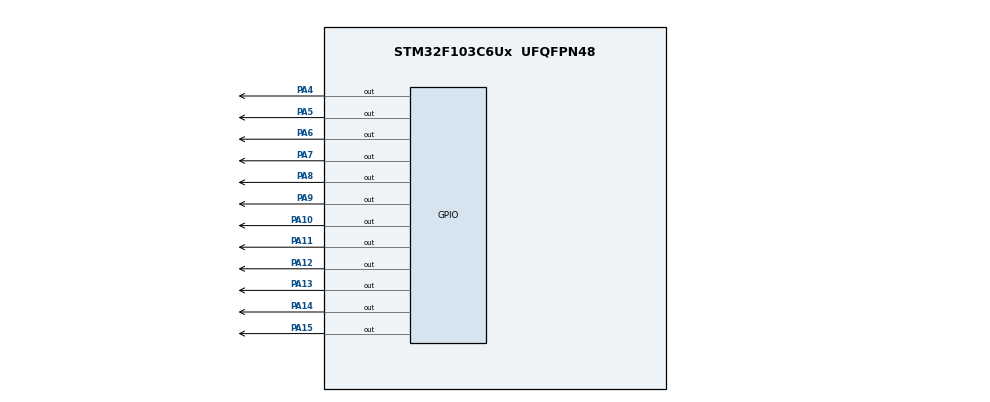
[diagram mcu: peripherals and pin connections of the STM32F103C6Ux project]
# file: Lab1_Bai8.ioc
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Mcu.Family=STM32F1
Mcu.Name=STM32F103C6Ux
Mcu.Package=UFQFPN48
NVIC.PriorityGroup=NVIC_PRIORITYGROUP_4
PA10.Signal=GPIO_Output
PA11.Signal=GPIO_Output
PA12.Signal=GPIO_Output
PA13.Signal=GPIO_Output
PA14.Signal=GPIO_Output
PA15.Signal=GPIO_Output
PA4.Signal=GPIO_Output
PA5.Signal=GPIO_Output
PA6.Signal=GPIO_Output
PA7.Signal=GPIO_Output
PA8.Signal=GPIO_Output
PA9.Signal=GPIO_Output
ProjectManager.HeapSize=0x200
ProjectManager.StackSize=0x400
ProjectManager.TargetToolchain=STM32CubeIDE
RCC.APB1Freq_Value=8000000
RCC.APB2Freq_Value=8000000
VP_SYS_VS_ND.Mode=No_Debug
board=custom

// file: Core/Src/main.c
/* USER CODE BEGIN Header */
/**
  ******************************************************************************
  * @file           : main.c
  * @brief          : Main program body
  ******************************************************************************
  * @attention
  *
  * <h2><center>&copy; Copyright (c) 2023 STMicroelectronics.
  * All rights reserved.</center></h2>
  *
  * This software component is licensed by ST under BSD 3-Clause license,
  * the "License"; You may not use this file except in compliance with the
  * License. You may obtain a copy of the License at:
  *                        opensource.org/licenses/BSD-3-Clause
  *
  ******************************************************************************
  */
/* USER CODE END Header */
#include "main.h"

void SystemClock_Config(void);
static void MX_GPIO_Init(void);

void setNumberOnClock(int num){
	switch(num){
	case 0:
		HAL_GPIO_WritePin (GPIOA, GPIO_PIN_4, RESET);
		break;
	case 1:
		HAL_GPIO_WritePin (GPIOA, GPIO_PIN_5, RESET);
		break;
	case 2:
		HAL_GPIO_WritePin (GPIOA, GPIO_PIN_6, RESET);
		break;
	case 3:
		HAL_GPIO_WritePin (GPIOA, GPIO_PIN_7, RESET);
		break;
	case 4:
		HAL_GPIO_WritePin (GPIOA, GPIO_PIN_8, RESET);
		break;
	case 5:
		HAL_GPIO_WritePin (GPIOA, GPIO_PIN_9, RESET);
		break;
	case 6:
		HAL_GPIO_WritePin (GPIOA, GPIO_PIN_10, RESET);
		break;
	case 7:
		HAL_GPIO_WritePin (GPIOA, GPIO_PIN_11, RESET);
		break;
	case 8:
		HAL_GPIO_WritePin (GPIOA, GPIO_PIN_12, RESET);
		break;
	case 9:
		HAL_GPIO_WritePin (GPIOA, GPIO_PIN_13, RESET);
		break;
	case 10:
		HAL_GPIO_WritePin (GPIOA, GPIO_PIN_14, RESET);
		break;
	case 11:
		HAL_GPIO_WritePin (GPIOA, GPIO_PIN_15, RESET);
		break;
	}
}
int main(void)
{

  /* MCU Configuration--------------------------------------------------------*/

  /* Reset of all peripherals, Initializes the Flash interface and the Systick. */
  HAL_Init();

  /* Configure the system clock */
  SystemClock_Config();

  /* Initialize all configured peripherals */
  MX_GPIO_Init();

  /* Infinite loop */
  /* USER CODE BEGIN WHILE */
  int count = 0;
	HAL_GPIO_WritePin (GPIOA, GPIO_PIN_4, SET);
	HAL_GPIO_WritePin (GPIOA, GPIO_PIN_5, SET);
	HAL_GPIO_WritePin (GPIOA, GPIO_PIN_6, SET);
	HAL_GPIO_WritePin (GPIOA, GPIO_PIN_7, SET);
	HAL_GPIO_WritePin (GPIOA, GPIO_PIN_8, SET);
	HAL_GPIO_WritePin (GPIOA, GPIO_PIN_9, SET);
	HAL_GPIO_WritePin (GPIOA, GPIO_PIN_10, SET);
	HAL_GPIO_WritePin (GPIOA, GPIO_PIN_11, SET);
	HAL_GPIO_WritePin (GPIOA, GPIO_PIN_12, SET);
	HAL_GPIO_WritePin (GPIOA, GPIO_PIN_13, SET);
	HAL_GPIO_WritePin (GPIOA, GPIO_PIN_14, SET);
	HAL_GPIO_WritePin (GPIOA, GPIO_PIN_15, SET);
  while (1)
  {
	  if (count == 12) count = 0;
	  setNumberOnClock(count);
	  count++;
    /* USER CODE END WHILE */
	  HAL_Delay(1000);
  }
}

void SystemClock_Config(void)
{
  RCC_OscInitTypeDef RCC_OscInitStruct = {0};
  RCC_ClkInitTypeDef RCC_ClkInitStruct = {0};

  /** Initializes the RCC Oscillators according to the specified parameters
  * in the RCC_OscInitTypeDef structure.
  */
  RCC_OscInitStruct.OscillatorType = RCC_OSCILLATORTYPE_HSI;
  RCC_OscInitStruct.HSIState = RCC_HSI_ON;
  RCC_OscInitStruct.HSICalibrationValue = RCC_HSICALIBRATION_DEFAULT;
  RCC_OscInitStruct.PLL.PLLState = RCC_PLL_NONE;
  if (HAL_RCC_OscConfig(&RCC_OscInitStruct) != HAL_OK)
  {
    Error_Handler();
  }
  /** Initializes the CPU, AHB and APB buses clocks
  */
  RCC_ClkInitStruct.ClockType = RCC_CLOCKTYPE_HCLK|RCC_CLOCKTYPE_SYSCLK
                              |RCC_CLOCKTYPE_PCLK1|RCC_CLOCKTYPE_PCLK2;
  RCC_ClkInitStruct.SYSCLKSource = RCC_SYSCLKSOURCE_HSI;
  RCC_ClkInitStruct.AHBCLKDivider = RCC_SYSCLK_DIV1;
  RCC_ClkInitStruct.APB1CLKDivider = RCC_HCLK_DIV1;
  RCC_ClkInitStruct.APB2CLKDivider = RCC_HCLK_DIV1;

  if (HAL_RCC_ClockConfig(&RCC_ClkInitStruct, FLASH_LATENCY_0) != HAL_OK)
  {
    Error_Handler();
  }
}

static void MX_GPIO_Init(void)
{
  GPIO_InitTypeDef GPIO_InitStruct = {0};

  /* GPIO Ports Clock Enable */
  __HAL_RCC_GPIOA_CLK_ENABLE();

  /*Configure GPIO pin Output Level */
  HAL_GPIO_WritePin(GPIOA, GPIO_PIN_4|GPIO_PIN_5|GPIO_PIN_6|GPIO_PIN_7
                          |GPIO_PIN_8|GPIO_PIN_9|GPIO_PIN_10|GPIO_PIN_11
                          |GPIO_PIN_12|GPIO_PIN_13|GPIO_PIN_14|GPIO_PIN_15, GPIO_PIN_RESET);

  /*Configure GPIO pins : PA4 PA5 PA6 PA7
                           PA8 PA9 PA10 PA11
                           PA12 PA13 PA14 PA15 */
  GPIO_InitStruct.Pin = GPIO_PIN_4|GPIO_PIN_5|GPIO_PIN_6|GPIO_PIN_7
                          |GPIO_PIN_8|GPIO_PIN_9|GPIO_PIN_10|GPIO_PIN_11
                          |GPIO_PIN_12|GPIO_PIN_13|GPIO_PIN_14|GPIO_PIN_15;
  GPIO_InitStruct.Mode = GPIO_MODE_OUTPUT_PP;
  GPIO_InitStruct.Pull = GPIO_NOPULL;
  GPIO_InitStruct.Speed = GPIO_SPEED_FREQ_LOW;
  HAL_GPIO_Init(GPIOA, &GPIO_InitStruct);

}

void Error_Handler(void)
{
  __disable_irq();
  while (1)
  {
  }
}

/************************ (C) COPYRIGHT STMicroelectronics *****END OF FILE****/
